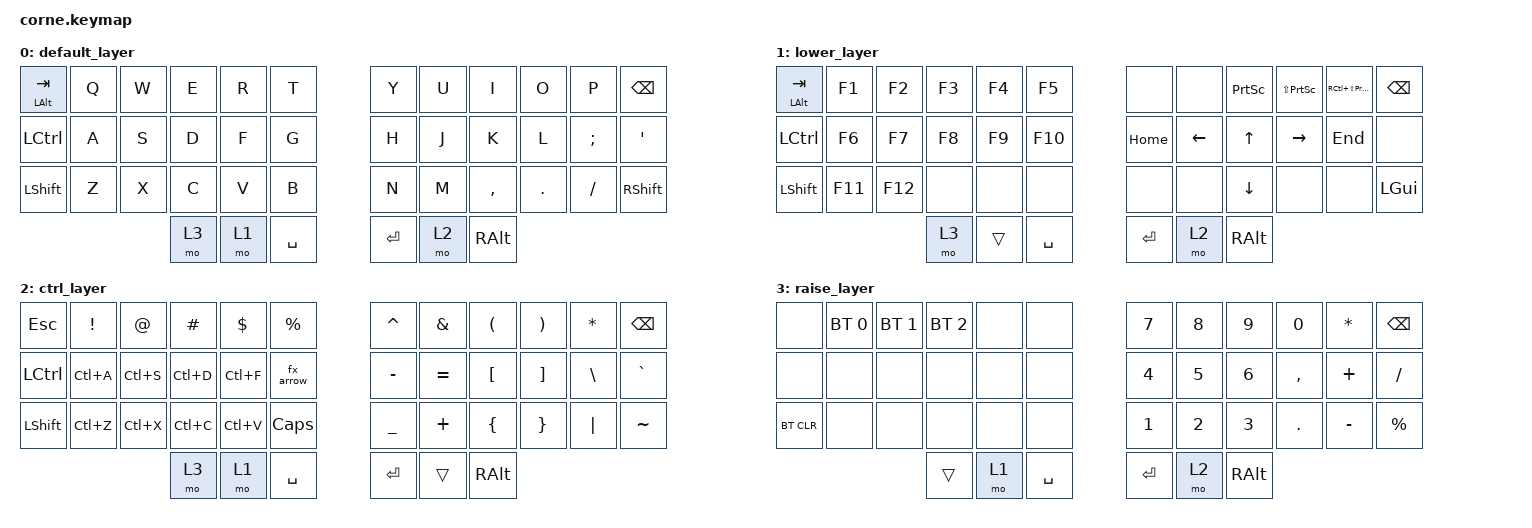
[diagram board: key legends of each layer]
/*
 * Copyright (c) 2020 The ZMK Contributors
 *
 * SPDX-License-Identifier: MIT
 */

#include <behaviors.dtsi>
#include <dt-bindings/zmk/keys.h>
#include <dt-bindings/zmk/bt.h>

/ {
        keymap {
                compatible = "zmk,keymap";

default_layer { // 0
// -----------------------------------------------------------------------------------------
// | TAB ALT  |  Q  |  W  |  E  |  R  |  T  |      |  Y  |  U   |  I  |  O  |  P  | BKSP |
// | CTRL     |  A  |  S  |  D  |  F  |  G  |      |  H  |  J   |  K  |  L  |  ;  |  '   |
// | SHFT     |  Z  |  X  |  C  |  V  |  B  |      |  N  |  M   |  ,  |  .  |  /  | SHFT |
//                        |     |     | SPC |      | ENT |      | ALT |
bindings = <
   &mt LALT TAB  &kp Q &kp W &kp E &kp R &kp T   &kp Y &kp U  &kp I     &kp O   &kp P    &kp BSPC
   &kp LCTRL &kp A &kp S &kp D &kp F &kp G       &kp H &kp J  &kp K     &kp L   &kp SEMI &kp SQT
   &kp LSHFT &kp Z &kp X &kp C &kp V &kp B       &kp N &kp M  &kp COMMA &kp DOT &kp FSLH &kp RSHIFT
                     &mo 3 &mo 1 &kp SPACE       &kp RET &mo 2 &kp RALT
>;
};

lower_layer { // &mo 1
// -----------------------------------------------------------------------------------------
// | TAB ALT  |  F1 |  F2 |  F3 |  F4 |  F5 |      |      |     | PSCRN | PSCRN | PSCRN | BKSP |
// | CTRL     |  F6 |  F7 |  F8 |  F9 | F10 |      | HOME | LFT |   UP  |  RGT  |  END  |      |
// | SHFT     | F11 | F12 |     |     |     |      |      |     |  DWN  |       |       | LGUI |
//                        |     |     | SPC |      | ENT  |     |  ALT  |
bindings = <
   &mt LALT TAB  &kp F1  &kp F2  &kp F3 &kp F4 &kp F5    &none    &none &kp PSCRN &kp LS(PSCRN) &kp RC(LS(PSCRN)) &kp BSPC
   &kp LCTRL  &kp F6  &kp F7  &kp F8 &kp F9 &kp F10      &kp HOME &kp LEFT &kp UP   &kp RIGHT &kp END &none
   &kp LSHFT  &kp F11 &kp F12 &none  &none  &none        &none    &none    &kp DOWN &none     &none   &kp LGUI
                        &mo 3 &trans &kp SPACE           &kp RET  &mo 2    &kp RALT
>;
};

ctrl_layer { // &mo 2
// -----------------------------------------------------------------------------------------
// |  ESC    |  !  |  @  |  #  |  $  |  %      |       |  ^  |  &  |  (  |  )  |  *  | BKSP |
// | CTRL    |LC(A)|LC(S)|LC(D)|LC(F)| fx_arrow|       |  -  |  =  |  [  |  ]  |  \  |  `   |
// | SHFT    |LC(Z)|LC(X)|LC(C)|LC(V)| CAPS    |       |  _  |  +  |  {  |  }  | "|" |  ~   |
//                       |     |     | SPC     |       | ENT |     | ALT |
bindings = <
   &kp ESC   &kp EXCL  &kp AT &kp HASH &kp DLLR &kp PRCNT          &kp CARET &kp AMPS  &kp LPAR &kp RPAR &kp ASTRK &kp BSPC
   &kp LCTRL &kp LC(A) &kp LC(S) &kp LC(D) &kp LC(F) &fx_arrow     &kp MINUS &kp EQUAL &kp LBKT &kp RBKT &kp BSLH  &kp GRAVE
   &kp LSHFT &kp LC(Z) &kp LC(X) &kp LC(C) &kp LC(V) &kp CAPS      &kp UNDER &kp PLUS  &kp LBRC &kp RBRC &kp PIPE  &kp TILDE
                             &mo 3 &mo 1 &kp SPACE                 &kp RET &trans &kp RALT
>;
};

raise_layer { // &mo 3
// -----------------------------------------------------------------------------------------
// |       | BT1 | BT2 | BT3 |     |     |       |  7  |  8  |  9  |  0  |  *  | BKSP |
// |       |     |     |     |     |     |       |  4  |  5  |  6  |  ,  |  +  |  /   |
// | BTCLR |     |     |     |     |     |       |  1  |  2  |  3  |  .  |  -  |  %   |
//                     |     |     | SPC |       | ENT |     | ALT |
bindings = <
   &none      &bt BT_SEL 0 &bt BT_SEL 1 &bt BT_SEL 2 &none &none      &kp N7 &kp N8 &kp N9 &kp N0    &kp ASTRK &kp BSPC
   &none      &none        &none        &none        &none &none      &kp N4 &kp N5 &kp N6 &kp COMMA &kp PLUS  &kp FSLH
   &bt BT_CLR &none        &none        &none        &none &none      &kp N1 &kp N2 &kp N3 &kp DOT   &kp MINUS &kp PRCNT
                                          &trans &mo 1 &kp SPACE      &kp RET &mo 2 &kp RALT
>;
};

};

    macros {
        fx_arrow: fx_arrow {
            compatible = "zmk,behavior-macro";
            #binding-cells = <0>;
            bindings = <&macro_tap &kp MINUS &kp GREATER_THAN>;
        };
    };
};
